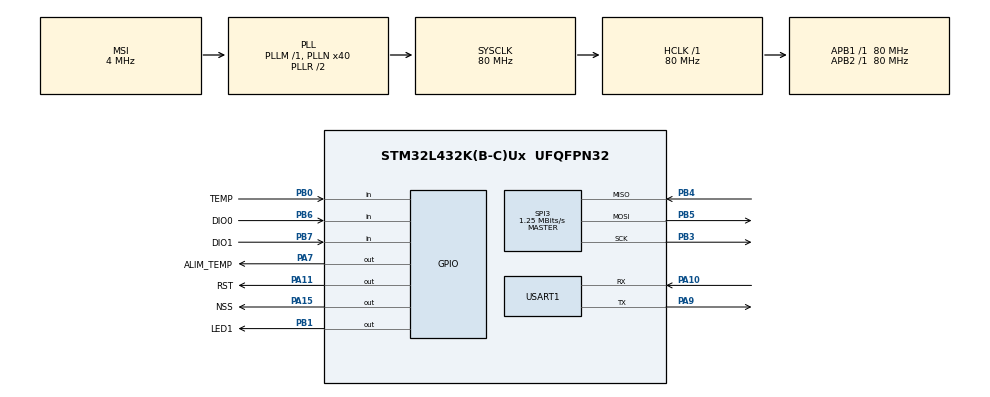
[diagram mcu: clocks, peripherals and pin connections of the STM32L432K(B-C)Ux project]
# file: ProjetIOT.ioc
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Mcu.Family=STM32L4
Mcu.Name=STM32L432K(B-C)Ux
Mcu.Package=UFQFPN32
NVIC.PriorityGroup=NVIC_PRIORITYGROUP_4
NVIC.TIM7_IRQn=true\:0\:0\:false\:false\:true\:true\:true\:true
PA10.Mode=Asynchronous
PA10.Signal=USART1_RX
PA11.GPIO_Label=RST
PA11.Signal=GPIO_Output
PA13\ (JTMS-SWDIO).Signal=SYS_JTMS-SWDIO
PA14\ (JTCK-SWCLK).Signal=SYS_JTCK-SWCLK
PA15\ (JTDI).GPIO_Label=NSS
PA15\ (JTDI).Signal=GPIO_Output
PA7.GPIO_Label=ALIM_TEMP
PA7.Signal=GPIO_Output
PA9.Mode=Asynchronous
PA9.Signal=USART1_TX
PB0.GPIO_Label=TEMP
PB0.Signal=GPIO_Input
PB1.GPIO_Label=LED1
PB1.Signal=GPIO_Output
PB3\ (JTDO-TRACESWO).Mode=Full_Duplex_Master
PB3\ (JTDO-TRACESWO).Signal=SPI3_SCK
PB4\ (NJTRST).Mode=Full_Duplex_Master
PB4\ (NJTRST).Signal=SPI3_MISO
PB5.Mode=Full_Duplex_Master
PB5.Signal=SPI3_MOSI
PB6.GPIO_Label=DIO0
PB6.Signal=GPIO_Input
PB7.GPIO_Label=DIO1
PB7.Signal=GPIO_Input
PC14-OSC32_IN\ (PC14).Mode=LSE-External-Oscillator
PC14-OSC32_IN\ (PC14).Signal=RCC_OSC32_IN
PC15-OSC32_OUT\ (PC15).Mode=LSE-External-Oscillator
PC15-OSC32_OUT\ (PC15).Signal=RCC_OSC32_OUT
ProjectManager.HeapSize=0x200
ProjectManager.StackSize=0x400
ProjectManager.TargetToolchain=CMake
RCC.AHBFreq_Value=80000000
RCC.APB1Freq_Value=80000000
RCC.APB1TimFreq_Value=80000000
RCC.APB2Freq_Value=80000000
RCC.APB2TimFreq_Value=80000000
RCC.CortexFreq_Value=80000000
RCC.HCLKFreq_Value=80000000
RCC.HSE_VALUE=8000000
RCC.HSI48_VALUE=48000000
RCC.HSI_VALUE=16000000
RCC.MSI_VALUE=4000000
RCC.PLLN=40
RCC.SYSCLKFreq_VALUE=80000000
RCC.SYSCLKSource=RCC_SYSCLKSOURCE_PLLCLK
RCC.VCOOutputFreq_Value=160000000
SPI3.BaudRatePrescaler=SPI_BAUDRATEPRESCALER_64
SPI3.CalculateBaudRate=1.25 MBits/s
SPI3.DataSize=SPI_DATASIZE_8BIT
SPI3.Direction=SPI_DIRECTION_2LINES
SPI3.Mode=SPI_MODE_MASTER
SPI3.VirtualType=VM_MASTER
TIM7.Prescaler=2499
USART1.VirtualMode-Asynchronous=VM_ASYNC
VP_TIM7_VS_ClockSourceINT.Mode=Enable_Timer
board=custom

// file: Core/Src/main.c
/* USER CODE BEGIN Header */
/**
  ******************************************************************************
  * @file           : main.c
  * @brief          : Main program body
  ******************************************************************************
  * @attention
  *
  * Copyright (c) 2026 STMicroelectronics.
  * All rights reserved.
  *
  * This software is licensed under terms that can be found in the LICENSE file
  * in the root directory of this software component.
  * If no LICENSE file comes with this software, it is provided AS-IS.
  *
  ******************************************************************************
  */
/* USER CODE END Header */
#include "main.h"
#include "spi.h"
#include "tim.h"
#include "usart.h"
#include "gpio.h"

/* USER CODE BEGIN Includes */
#include "debug.h"
#include "hal.h"
#include "lmic.h"
#include "lorabase.h"
#include "oslmic.h"
#include <string.h>

//This header file must contain the following code

/*
Private variables ---------------------------------------------------------
// application router ID (LSBF) < ------- IMPORTANT
static const u1_t APPEUI[8] = { IMPORT FROM TTN };
// unique device ID (LSBF) < ------- IMPORTANT
static const u1_t DEVEUI[8] = { CREATE RANDOM NUMBER };
// device-specific AES key (derived from device EUI (MSBF))
static const u1_t DEVKEY[16] = { IMPORT FROM TTN };

//APPEUI,DEVEUI must be copied from thethingsnetwork application datas in LSB format
//-----------------------------------------------------------------------------------------
*/
#include "secret.h"

/* USER CODE END Includes */

void SystemClock_Config(void);

/* USER CODE BEGIN 0 */
// provide application router ID (8 bytes, LSBF)
void os_getArtEui (u1_t* buf) {
	memcpy(buf, APPEUI, 8);
}
// provide device ID (8 bytes, LSBF)
void os_getDevEui (u1_t* buf) {
	memcpy(buf, DEVEUI, 8);
}
// provide device key (16 bytes)
void os_getDevKey (u1_t* buf) {
	memcpy(buf, DEVKEY, 16);
}
void initsensor(){
// Here you init your sensors
}

void initfunc (osjob_t* j) {
	// intialize sensor hardware
	initsensor();
	// reset MAC state
	LMIC_reset();
	// start joining
	LMIC_startJoining();
	// init done - onEvent() callback will be invoked...
}
u2_t readsensor(){
	u2_t value = 0xDF; /// read from evrything ...make your own sensor
	return value;
}

static osjob_t reportjob;
// report sensor value every minute
static void reportfunc (osjob_t* j) {
	// read sensor
	u2_t val = readsensor();
	debug_val("val = ", val);
	// prepare and schedule data for transmission
	LMIC.frame[0] = val << 8;
	LMIC.frame[1] = val;
	LMIC_setTxData2(1, LMIC.frame, 2, 0); // (port 1, 2 bytes, unconfirmed)
	// reschedule job in 60 seconds
	os_setTimedCallback(j, os_getTime()+sec2osticks(15), reportfunc);
}

//////////////////////////////////////////////////
// LMIC EVENT CALLBACK
//////////////////////////////////////////////////
void onEvent (ev_t ev) {
	debug_event(ev);
	switch(ev) {
	// network joined, session established
		case EV_JOINING:
			debug_str("try joining\r\n");
			break;
		case EV_JOINED:
			// kick-off periodic sensor job
			reportfunc(&reportjob);
			break;
		case EV_JOIN_FAILED:
			debug_str("join failed\r\n");
			break;
		case EV_SCAN_TIMEOUT:
			debug_str("EV_SCAN_TIMEOUT\r\n");
			break;
		case EV_BEACON_FOUND:
			debug_str("EV_BEACON_FOUND\r\n");
			break;
		case EV_BEACON_MISSED:
			debug_str("EV_BEACON_MISSED\r\n");
			break;
		case EV_BEACON_TRACKED:
			debug_str("EV_BEACON_TRACKED\r\n");
			break;
		case EV_RFU1:
			debug_str("EV_RFU1\r\n");
			break;
		case EV_REJOIN_FAILED:
			debug_str("EV_REJOIN_FAILED\r\n");
			break;
		case EV_TXCOMPLETE:
			debug_str("EV_TXCOMPLETE (includes waiting for RX windows)\r\n");
			if (LMIC.txrxFlags & TXRX_ACK)
				debug_str("Received ack\r\n");
			if (LMIC.dataLen) {
				debug_str("Received ");
				debug_val("len = ", LMIC.dataLen);
				debug_str(" bytes of payload\r\n");
			}
			break;
		case EV_LOST_TSYNC:
			debug_str("EV_LOST_TSYNC\r\n");
			break;
		case EV_RESET:
			debug_str("EV_RESET\r\n");
			break;
		case EV_RXCOMPLETE:
			// data received in ping slot
			debug_str("EV_RXCOMPLETE\r\n");
			break;
		case EV_LINK_DEAD:
			debug_str("EV_LINK_DEAD\r\n");
			break;
		case EV_LINK_ALIVE:
			debug_str("EV_LINK_ALIVE\r\n");
			break;
		default:
			debug_str("Unknown event\r\n");
			break;
	}
}
/* USER CODE END 0 */

int main(void)
{

  /* MCU Configuration--------------------------------------------------------*/

  /* Reset of all peripherals, Initializes the Flash interface and the Systick. */
  HAL_Init();

  /* Configure the system clock */
  SystemClock_Config();

  /* Initialize all configured peripherals */
  MX_GPIO_Init();
  MX_SPI3_Init();
  MX_TIM7_Init();
  MX_USART1_UART_Init();
  /* USER CODE BEGIN 2 */
	HAL_TIM_Base_Start_IT(&htim7);   // <----------- change to your setup
	__HAL_SPI_ENABLE(&hspi3);        // <----------- change to your setup
	osjob_t initjob;
	// initialize runtime env
	os_init();
	// initialize debug library
	debug_init();
	// setup initial job
	os_setCallback(&initjob, initfunc);
	// execute scheduled jobs and events
	os_runloop();
	// (not reached)
	return 0;

  /* USER CODE END 2 */

  /* Infinite loop */
  while (1)
  {

  }
}

void SystemClock_Config(void)
{
  RCC_OscInitTypeDef RCC_OscInitStruct = {0};
  RCC_ClkInitTypeDef RCC_ClkInitStruct = {0};

  /** Configure the main internal regulator output voltage
  */
  if (HAL_PWREx_ControlVoltageScaling(PWR_REGULATOR_VOLTAGE_SCALE1) != HAL_OK)
  {
    Error_Handler();
  }

  /** Configure LSE Drive Capability
  */
  HAL_PWR_EnableBkUpAccess();
  __HAL_RCC_LSEDRIVE_CONFIG(RCC_LSEDRIVE_LOW);

  /** Initializes the RCC Oscillators according to the specified parameters
  * in the RCC_OscInitTypeDef structure.
  */
  RCC_OscInitStruct.OscillatorType = RCC_OSCILLATORTYPE_LSE|RCC_OSCILLATORTYPE_MSI;
  RCC_OscInitStruct.LSEState = RCC_LSE_ON;
  RCC_OscInitStruct.MSIState = RCC_MSI_ON;
  RCC_OscInitStruct.MSICalibrationValue = 0;
  RCC_OscInitStruct.MSIClockRange = RCC_MSIRANGE_6;
  RCC_OscInitStruct.PLL.PLLState = RCC_PLL_ON;
  RCC_OscInitStruct.PLL.PLLSource = RCC_PLLSOURCE_MSI;
  RCC_OscInitStruct.PLL.PLLM = 1;
  RCC_OscInitStruct.PLL.PLLN = 40;
  RCC_OscInitStruct.PLL.PLLP = RCC_PLLP_DIV7;
  RCC_OscInitStruct.PLL.PLLQ = RCC_PLLQ_DIV2;
  RCC_OscInitStruct.PLL.PLLR = RCC_PLLR_DIV2;
  if (HAL_RCC_OscConfig(&RCC_OscInitStruct) != HAL_OK)
  {
    Error_Handler();
  }

  /** Initializes the CPU, AHB and APB buses clocks
  */
  RCC_ClkInitStruct.ClockType = RCC_CLOCKTYPE_HCLK|RCC_CLOCKTYPE_SYSCLK
                              |RCC_CLOCKTYPE_PCLK1|RCC_CLOCKTYPE_PCLK2;
  RCC_ClkInitStruct.SYSCLKSource = RCC_SYSCLKSOURCE_PLLCLK;
  RCC_ClkInitStruct.AHBCLKDivider = RCC_SYSCLK_DIV1;
  RCC_ClkInitStruct.APB1CLKDivider = RCC_HCLK_DIV1;
  RCC_ClkInitStruct.APB2CLKDivider = RCC_HCLK_DIV1;

  if (HAL_RCC_ClockConfig(&RCC_ClkInitStruct, FLASH_LATENCY_4) != HAL_OK)
  {
    Error_Handler();
  }

  /** Enable MSI Auto calibration
  */
  HAL_RCCEx_EnableMSIPLLMode();
}

void Error_Handler(void)
{
  __disable_irq();
  while (1)
  {
  }
}
